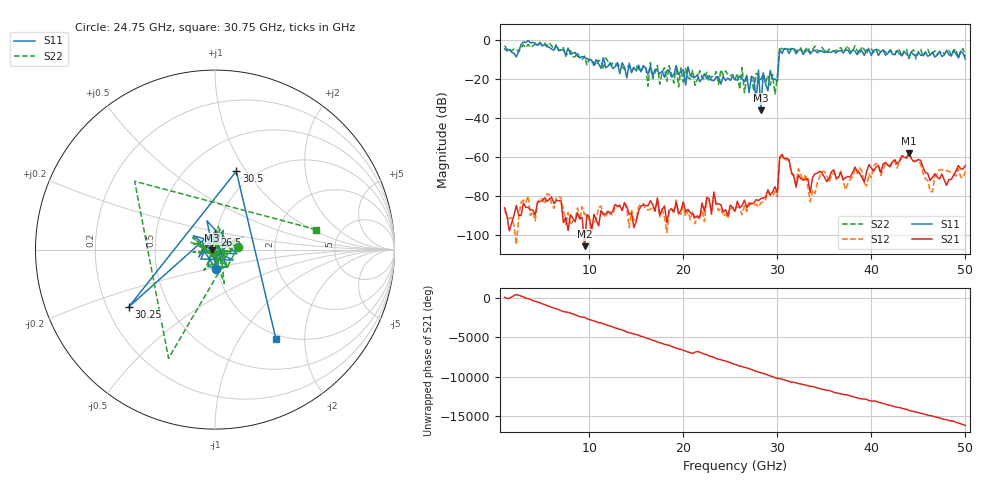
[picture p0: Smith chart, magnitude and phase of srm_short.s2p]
# GHz S RI R 50.0
!freq ReS11 ImS11 ReS21 ImS21 ReS12 ImS12 ReS22 ImS22
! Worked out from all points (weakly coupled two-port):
!   197 points, 1 GHz to 50 GHz, reference 50 ohm
!   highest |S21| = -57.95 dB at 44 GHz (marker M1); lowest = -105.9 dB at 9.5 GHz (marker M2)
!   lowest |S11| = -36.0 dB at 28.25 GHz (marker M3), VSWR 1.03, Z = 48.5 - j0.432 ohm
!   |S11| at or under -10 dB: 9.884 GHz to 10.75 GHz (864.9 MHz wide, 8.38 % of centre); 10.75 GHz to 11.46 GHz (703.9 MHz wide, 6.34 % of centre); 11.55 GHz to 30.17 GHz (18.62 GHz wide, 89.3 % of centre)
!   |S22| runs from -27.8 to -1.4 dB; largest |S21 - S12| = 0.0022
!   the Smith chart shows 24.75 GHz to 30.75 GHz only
!   S11 on the Smith chart (normalised r, x): 24.75 GHz: 0.99, -0.21; 26.5 GHz: 0.99, +0.17; 30.25 GHz: 0.29, -0.28; 30.5 GHz: 0.82, +0.90; 30.75 GHz: 0.93, -1.46
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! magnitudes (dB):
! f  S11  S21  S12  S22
! 1 GHz  -4.5  -86.1  -87.6  -2.8
! 9.25 GHz  -8.5  -91.1  -85.5  -10.0
! 9.5 GHz  -9.1  -105.9  -89.7  -8.2
! 17.5 GHz  -17.3  -89.9  -90.8  -22.7
! 24.75 GHz  -19.5  -90.3  -91.6  -17.8
! 25.5 GHz  -20.4  -88.0  -86.9  -20.1
! 26.25 GHz  -19.7  -85.1  -89.7  -14.2
! 26.5 GHz  -21.4  -82.2  -85.1  -27.1
! 27.75 GHz  -31.2  -82.0  -84.3  -17.0
! 28 GHz  -15.4  -82.5  -85.8  -18.4
! 28.25 GHz  -36.0  -81.3  -83.6  -20.3
! 28.5 GHz  -16.8  -81.1  -83.1  -17.3
! 29.75 GHz  -20.0  -75.3  -77.8  -27.8
! 30 GHz  -21.2  -78.6  -80.6  -19.3
! 30.25 GHz  -4.8  -60.3  -61.4  -3.6
! 30.5 GHz  -6.9  -58.7  -59.7  -4.6
! 30.75 GHz  -4.4  -61.0  -61.4  -4.8
! 33.75 GHz  -5.6  -70.6  -77.0  -5.0
! 42 GHz  -5.2  -65.1  -64.2  -5.0
! 44 GHz  -8.4  -57.9  -57.8  -9.5
! 46.25 GHz  -7.7  -72.1  -77.8  -7.7
! 50 GHz  -9.8  -64.5  -67.5  -8.5
